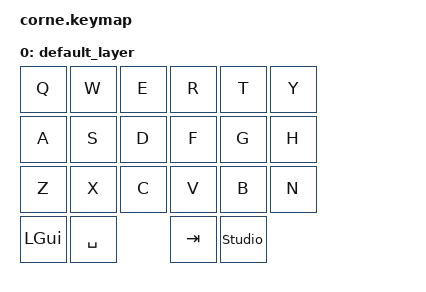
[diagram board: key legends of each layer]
#include <behaviors.dtsi>
#include <dt-bindings/zmk/keys.h>

/ {
    keymap {
        compatible = "zmk,keymap";

        default_layer {
            bindings = <
                &kp Q  &kp W  &kp E  &kp R  &kp T  &kp Y
                &kp A  &kp S  &kp D  &kp F  &kp G  &kp H
                &kp Z  &kp X  &kp C  &kp V  &kp B  &kp N

                &kp LGUI  &kp SPACE  &kp TAB  &studio_unlock
            >;
        };
    };
};
